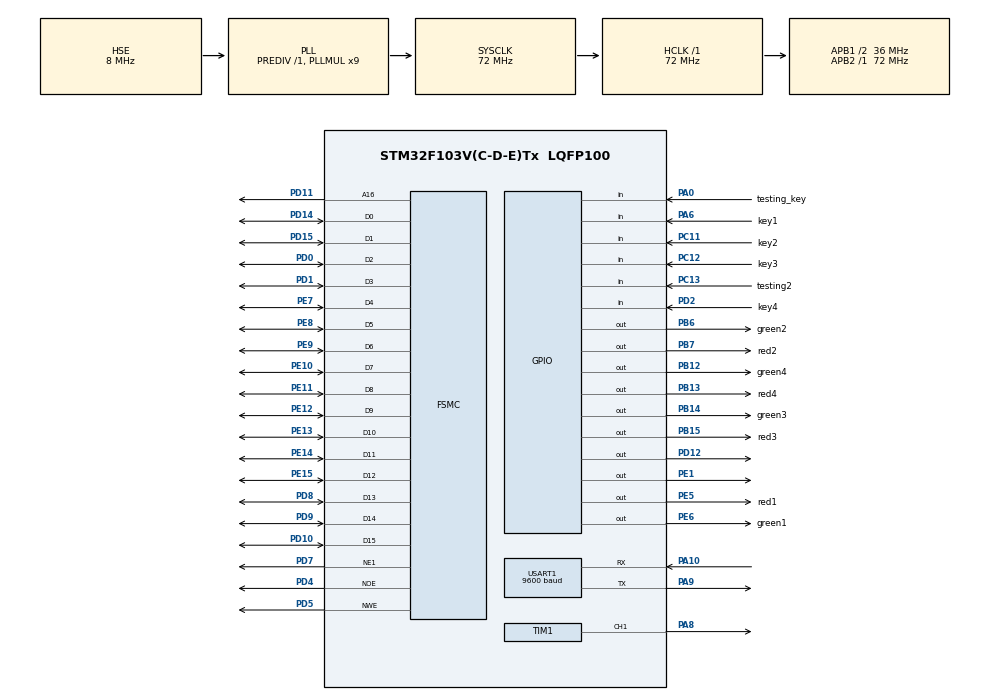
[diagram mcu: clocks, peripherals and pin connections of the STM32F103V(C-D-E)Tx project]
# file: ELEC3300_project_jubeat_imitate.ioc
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Mcu.Family=STM32F1
Mcu.Name=STM32F103V(C-D-E)Tx
Mcu.Package=LQFP100
Mcu.UserConstants=T1_CNT,9999;T1_PRE,7199;PWM_1,4999
NVIC.PriorityGroup=NVIC_PRIORITYGROUP_4
OSC_IN.Mode=HSE-External-Oscillator
OSC_IN.Signal=RCC_OSC_IN
OSC_OUT.Mode=HSE-External-Oscillator
OSC_OUT.Signal=RCC_OSC_OUT
PA0-WKUP.GPIO_Label=testing_key
PA0-WKUP.GPIO_PuPd=GPIO_PULLUP
PA0-WKUP.Signal=GPIO_Input
PA10.Mode=Asynchronous
PA10.Signal=USART1_RX
PA13.Mode=Serial_Wire
PA13.Signal=SYS_JTMS-SWDIO
PA14.Mode=Serial_Wire
PA14.Signal=SYS_JTCK-SWCLK
PA6.GPIO_Label=key1
PA6.GPIO_PuPd=GPIO_PULLUP
PA6.Signal=GPIO_Input
PA8.Signal=S_TIM1_CH1
PA9.Mode=Asynchronous
PA9.Signal=USART1_TX
PB12.GPIO_Label=green4
PB12.GPIO_Speed=GPIO_SPEED_FREQ_HIGH
PB12.PinState=GPIO_PIN_SET
PB12.Signal=GPIO_Output
PB13.GPIO_Label=red4
PB13.GPIO_Speed=GPIO_SPEED_FREQ_HIGH
PB13.PinState=GPIO_PIN_SET
PB13.Signal=GPIO_Output
PB14.GPIO_Label=green3
PB14.GPIO_Speed=GPIO_SPEED_FREQ_HIGH
PB14.PinState=GPIO_PIN_SET
PB14.Signal=GPIO_Output
PB15.GPIO_Label=red3
PB15.GPIO_Speed=GPIO_SPEED_FREQ_HIGH
PB15.PinState=GPIO_PIN_SET
PB15.Signal=GPIO_Output
PB6.GPIO_Label=green2
PB6.GPIO_PuPd=GPIO_NOPULL
PB6.GPIO_Speed=GPIO_SPEED_FREQ_HIGH
PB6.PinState=GPIO_PIN_SET
PB6.Signal=GPIO_Output
PB7.GPIO_Label=red2
PB7.GPIO_PuPd=GPIO_NOPULL
PB7.GPIO_Speed=GPIO_SPEED_FREQ_HIGH
PB7.PinState=GPIO_PIN_SET
PB7.Signal=GPIO_Output
PC11.GPIO_Label=key2
PC11.GPIO_PuPd=GPIO_PULLUP
PC11.Signal=GPIO_Input
PC12.GPIO_Label=key3
PC12.GPIO_PuPd=GPIO_PULLUP
PC12.Signal=GPIO_Input
PC13-TAMPER-RTC.GPIO_Label=testing2
PC13-TAMPER-RTC.GPIO_PuPd=GPIO_PULLUP
PC13-TAMPER-RTC.Signal=GPIO_Input
PC14-OSC32_IN.Mode=LSE-External-Oscillator
PC14-OSC32_IN.Signal=RCC_OSC32_IN
PC15-OSC32_OUT.Mode=LSE-External-Oscillator
PC15-OSC32_OUT.Signal=RCC_OSC32_OUT
PD0.Mode=16b-d1
PD0.Signal=FSMC_D2
PD1.Mode=16b-d1
PD1.Signal=FSMC_D3
PD10.Mode=16b-d1
PD10.Signal=FSMC_D15
PD11.Mode=A16_1
PD11.Signal=FSMC_A16
PD12.GPIO_Speed=GPIO_SPEED_FREQ_HIGH
PD12.PinState=GPIO_PIN_RESET
PD12.Signal=GPIO_Output
PD14.Mode=16b-d1
PD14.Signal=FSMC_D0
PD15.Mode=16b-d1
PD15.Signal=FSMC_D1
PD2.GPIO_Label=key4
PD2.GPIO_PuPd=GPIO_PULLUP
PD2.Signal=GPIO_Input
PD4.Mode=Lcd1
PD4.Signal=FSMC_NOE
PD5.Mode=Lcd1
PD5.Signal=FSMC_NWE
PD7.Mode=NorPsramChipSelect1_1
PD7.Signal=FSMC_NE1
PD8.Mode=16b-d1
PD8.Signal=FSMC_D13
PD9.Mode=16b-d1
PD9.Signal=FSMC_D14
PE1.GPIO_Speed=GPIO_SPEED_FREQ_HIGH
PE1.Signal=GPIO_Output
PE10.Mode=16b-d1
PE10.Signal=FSMC_D7
PE11.Mode=16b-d1
PE11.Signal=FSMC_D8
PE12.Mode=16b-d1
PE12.Signal=FSMC_D9
PE13.Mode=16b-d1
PE13.Signal=FSMC_D10
PE14.Mode=16b-d1
PE14.Signal=FSMC_D11
PE15.Mode=16b-d1
PE15.Signal=FSMC_D12
PE5.GPIO_Label=red1
PE5.GPIO_Speed=GPIO_SPEED_FREQ_HIGH
PE5.PinState=GPIO_PIN_SET
PE5.Signal=GPIO_Output
PE6.GPIO_Label=green1
PE6.GPIO_Speed=GPIO_SPEED_FREQ_HIGH
PE6.PinState=GPIO_PIN_SET
PE6.Signal=GPIO_Output
PE7.Mode=16b-d1
PE7.Signal=FSMC_D4
PE8.Mode=16b-d1
PE8.Signal=FSMC_D5
PE9.Mode=16b-d1
PE9.Signal=FSMC_D6
ProjectManager.HeapSize=0x200
ProjectManager.StackSize=0x400
ProjectManager.TargetToolchain=STM32CubeIDE
RCC.AHBFreq_Value=72000000
RCC.APB1CLKDivider=RCC_HCLK_DIV2
RCC.APB1Freq_Value=36000000
RCC.APB1TimFreq_Value=72000000
RCC.APB2Freq_Value=72000000
RCC.APB2TimFreq_Value=72000000
RCC.HCLKFreq_Value=72000000
RCC.PLLMUL=RCC_PLL_MUL9
RCC.PLLSourceVirtual=RCC_PLLSOURCE_HSE
RCC.SYSCLKFreq_VALUE=72000000
RCC.SYSCLKSource=RCC_SYSCLKSOURCE_PLLCLK
RCC.USBFreq_Value=72000000
SH.S_TIM1_CH1.0=TIM1_CH1,PWM Generation1 CH1
TIM1.Channel-PWM\ Generation1\ CH1=TIM_CHANNEL_1
TIM1.Period=T1_CNT
TIM1.Prescaler=T1_PRE
TIM1.Pulse-PWM\ Generation1\ CH1=PWM_1
USART1.BaudRate=9600
USART1.VirtualMode=VM_ASYNC
board=custom

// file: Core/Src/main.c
/* USER CODE BEGIN Header */
/**
  ******************************************************************************
  * @file           : main.c
  * @brief          : Main program body
  ******************************************************************************
  * @attention
  *
  * Copyright (c) 2024 STMicroelectronics.
  * All rights reserved.
  *
  * This software is licensed under terms that can be found in the LICENSE file
  * in the root directory of this software component.
  * If no LICENSE file comes with this software, it is provided AS-IS.
  *
  ******************************************************************************
  */
/* USER CODE END Header */
#include "main.h"

/* USER CODE BEGIN Includes */
#include "lcd.h"
#include "dy_sv17f.h"
#include "led_blink.h"

#include "menu.h"
#include "blank_space.h"
#include "an_apple.h"
/* USER CODE END Includes */

/* USER CODE BEGIN PD */
//#define T1_PRE 7199
//#define T1_CNT 9999
//#define PWM_1 4999
/* USER CODE END PD */

 TIM_HandleTypeDef htim1;

UART_HandleTypeDef huart1;

SRAM_HandleTypeDef hsram1;

void SystemClock_Config(void);
static void MX_GPIO_Init(void);
static void MX_FSMC_Init(void);
static void MX_USART1_UART_Init(void);
static void MX_TIM1_Init(void);

int main(void)
{

  /* MCU Configuration--------------------------------------------------------*/

  /* Reset of all peripherals, Initializes the Flash interface and the Systick. */
  HAL_Init();

  /* Configure the system clock */
  SystemClock_Config();

  /* Initialize all configured peripherals */
  MX_GPIO_Init();
  MX_FSMC_Init();
  MX_USART1_UART_Init();
  MX_TIM1_Init();
  /* USER CODE BEGIN 2 */
  LCD_INIT();
  HAL_UART_Init(&huart1);
  DY_Init(&huart1);
//  HAL_TIM_PWM_Start(&htim1, TIM_CHANNEL_1);
  int page = 0;
  int menuTrue = 1;
  /* USER CODE END 2 */

  /* Infinite loop */
  while (1)
  {

    /* USER CODE BEGIN 3 */

	  // initialize to the menu
	  if (menuTrue == 1) {
		  printMenu(page);
		  HAL_GPIO_WritePin(GPIOE, GPIO_PIN_5, GPIO_PIN_RESET);
		  HAL_GPIO_WritePin(GPIOB, GPIO_PIN_6, GPIO_PIN_RESET);
		  HAL_GPIO_WritePin(GPIOB, GPIO_PIN_7, GPIO_PIN_RESET);
		  HAL_GPIO_WritePin(GPIOB, GPIO_PIN_14, GPIO_PIN_RESET);
		  //menuLED();
	  }

	  // changing to another page by KE2
	  if(HAL_GPIO_ReadPin(GPIOC, GPIO_PIN_11) == GPIO_PIN_SET) {
		  HAL_Delay(200);
		  page += 1; // select another songs
		  if( page > 3) {
			  page = page % 4;
			  page = (page == 0) ? 1 : page;
		  }
		  // in this case assume 2 songs first
		  // default page = 0 menu, or if A0 is pressed , go to blank space
		  // page = 1 blank space
		  // page = 2 an apple
		  // page = 3 badroom star
	  }
	  //change to last page by key1
	  if(HAL_GPIO_ReadPin(GPIOC, GPIO_PIN_10) != GPIO_PIN_SET) {
	  		  HAL_Delay(200);
	  		  page -= 1; // select another songs
	  		  if( page <= 0) {
	  			  page = 3;
	  		  }
	  }

	  // select the song by KEY1 in STM32
	  if(HAL_GPIO_ReadPin(GPIOA, GPIO_PIN_0) == GPIO_PIN_SET) {
		  menuTrue = 0;
		  uint8_t cmdPlay1[] = {0xAA, 0x08, 0x0B, 0x02, 0x2F, 0x30, 0x30, 0x30, 0x30, 0x31, 0x2A, 0x4D, 0x50, 0x33, 0xD9};
		  uint8_t cmdPlay2[] = {0xAA, 0x08, 0x0B, 0x02, 0x2F, 0x30, 0x30, 0x30, 0x30, 0x32, 0x2A, 0x4D, 0x50, 0x33, 0xDA};
		  uint8_t cmdPlay3[] = {0xAA, 0x08, 0x0B, 0x02, 0x2F, 0x30, 0x30, 0x30, 0x30, 0x33, 0x2A, 0x4D, 0x50, 0x33, 0xDB};

		  HAL_Delay(50);
		  switch (page) {
		  	  case (0) :
		  	  	  	blank_space_LCD();
		  	  	  	HAL_Delay(500);
		  	  	  	HAL_UART_Transmit(&huart1, cmdPlay1, sizeof(cmdPlay1), 1000);
		  		    blank_space_musicMap();
		  	  	  	break;
		  	  case (1) :
		  	  	  	blank_space_LCD();
		  	  	  	HAL_Delay(500);
		  	  	  	HAL_UART_Transmit(&huart1, cmdPlay1, sizeof(cmdPlay1), 1000);
		  		    blank_space_musicMap();
		  	  	  	break;
		  	  case (2) :
					an_apple_LCD();
		  	  	  	HAL_Delay(500);
		  	  	  	HAL_UART_Transmit(&huart1, cmdPlay2, sizeof(cmdPlay2), 1000);
		  	  	  	an_apple_musicMap();
		  	  	  	break;
		  	  case (3) :
		  			// haven't write music map
		  	  	  	HAL_Delay(500);
		  	  	  	HAL_UART_Transmit(&huart1, cmdPlay2, sizeof(cmdPlay3), 1000);
		  	  	  	break;

		  }
	  }

	  if(HAL_GPIO_ReadPin(GPIOD, GPIO_PIN_2) != GPIO_PIN_SET) {
		  //Blink_LED4(0);
	  }

  }

  /* USER CODE END 3 */
}

void SystemClock_Config(void)
{
  RCC_OscInitTypeDef RCC_OscInitStruct = {0};
  RCC_ClkInitTypeDef RCC_ClkInitStruct = {0};

  /** Initializes the RCC Oscillators according to the specified parameters
  * in the RCC_OscInitTypeDef structure.
  */
  RCC_OscInitStruct.OscillatorType = RCC_OSCILLATORTYPE_HSE;
  RCC_OscInitStruct.HSEState = RCC_HSE_ON;
  RCC_OscInitStruct.HSEPredivValue = RCC_HSE_PREDIV_DIV1;
  RCC_OscInitStruct.HSIState = RCC_HSI_ON;
  RCC_OscInitStruct.PLL.PLLState = RCC_PLL_ON;
  RCC_OscInitStruct.PLL.PLLSource = RCC_PLLSOURCE_HSE;
  RCC_OscInitStruct.PLL.PLLMUL = RCC_PLL_MUL9;
  if (HAL_RCC_OscConfig(&RCC_OscInitStruct) != HAL_OK)
  {
    Error_Handler();
  }

  /** Initializes the CPU, AHB and APB buses clocks
  */
  RCC_ClkInitStruct.ClockType = RCC_CLOCKTYPE_HCLK|RCC_CLOCKTYPE_SYSCLK
                              |RCC_CLOCKTYPE_PCLK1|RCC_CLOCKTYPE_PCLK2;
  RCC_ClkInitStruct.SYSCLKSource = RCC_SYSCLKSOURCE_PLLCLK;
  RCC_ClkInitStruct.AHBCLKDivider = RCC_SYSCLK_DIV1;
  RCC_ClkInitStruct.APB1CLKDivider = RCC_HCLK_DIV2;
  RCC_ClkInitStruct.APB2CLKDivider = RCC_HCLK_DIV1;

  if (HAL_RCC_ClockConfig(&RCC_ClkInitStruct, FLASH_LATENCY_2) != HAL_OK)
  {
    Error_Handler();
  }
}

static void MX_TIM1_Init(void)
{

  TIM_MasterConfigTypeDef sMasterConfig = {0};
  TIM_OC_InitTypeDef sConfigOC = {0};
  TIM_BreakDeadTimeConfigTypeDef sBreakDeadTimeConfig = {0};

  htim1.Instance = TIM1;
  htim1.Init.Prescaler = T1_PRE;
  htim1.Init.CounterMode = TIM_COUNTERMODE_UP;
  htim1.Init.Period = T1_CNT;
  htim1.Init.ClockDivision = TIM_CLOCKDIVISION_DIV1;
  htim1.Init.RepetitionCounter = 0;
  htim1.Init.AutoReloadPreload = TIM_AUTORELOAD_PRELOAD_DISABLE;
  if (HAL_TIM_PWM_Init(&htim1) != HAL_OK)
  {
    Error_Handler();
  }
  sMasterConfig.MasterOutputTrigger = TIM_TRGO_RESET;
  sMasterConfig.MasterSlaveMode = TIM_MASTERSLAVEMODE_DISABLE;
  if (HAL_TIMEx_MasterConfigSynchronization(&htim1, &sMasterConfig) != HAL_OK)
  {
    Error_Handler();
  }
  sConfigOC.OCMode = TIM_OCMODE_PWM1;
  sConfigOC.Pulse = PWM_1;
  sConfigOC.OCPolarity = TIM_OCPOLARITY_HIGH;
  sConfigOC.OCNPolarity = TIM_OCNPOLARITY_HIGH;
  sConfigOC.OCFastMode = TIM_OCFAST_DISABLE;
  sConfigOC.OCIdleState = TIM_OCIDLESTATE_RESET;
  sConfigOC.OCNIdleState = TIM_OCNIDLESTATE_RESET;
  if (HAL_TIM_PWM_ConfigChannel(&htim1, &sConfigOC, TIM_CHANNEL_1) != HAL_OK)
  {
    Error_Handler();
  }
  sBreakDeadTimeConfig.OffStateRunMode = TIM_OSSR_DISABLE;
  sBreakDeadTimeConfig.OffStateIDLEMode = TIM_OSSI_DISABLE;
  sBreakDeadTimeConfig.LockLevel = TIM_LOCKLEVEL_OFF;
  sBreakDeadTimeConfig.DeadTime = 0;
  sBreakDeadTimeConfig.BreakState = TIM_BREAK_DISABLE;
  sBreakDeadTimeConfig.BreakPolarity = TIM_BREAKPOLARITY_HIGH;
  sBreakDeadTimeConfig.AutomaticOutput = TIM_AUTOMATICOUTPUT_DISABLE;
  if (HAL_TIMEx_ConfigBreakDeadTime(&htim1, &sBreakDeadTimeConfig) != HAL_OK)
  {
    Error_Handler();
  }
  HAL_TIM_MspPostInit(&htim1);

}

static void MX_USART1_UART_Init(void)
{

  huart1.Instance = USART1;
  huart1.Init.BaudRate = 9600;
  huart1.Init.WordLength = UART_WORDLENGTH_8B;
  huart1.Init.StopBits = UART_STOPBITS_1;
  huart1.Init.Parity = UART_PARITY_NONE;
  huart1.Init.Mode = UART_MODE_TX_RX;
  huart1.Init.HwFlowCtl = UART_HWCONTROL_NONE;
  huart1.Init.OverSampling = UART_OVERSAMPLING_16;
  if (HAL_UART_Init(&huart1) != HAL_OK)
  {
    Error_Handler();
  }

}

static void MX_GPIO_Init(void)
{
  GPIO_InitTypeDef GPIO_InitStruct = {0};

  /* GPIO Ports Clock Enable */
  __HAL_RCC_GPIOE_CLK_ENABLE();
  __HAL_RCC_GPIOC_CLK_ENABLE();
  __HAL_RCC_GPIOA_CLK_ENABLE();
  __HAL_RCC_GPIOB_CLK_ENABLE();
  __HAL_RCC_GPIOD_CLK_ENABLE();

  /*Configure GPIO pin Output Level */
  HAL_GPIO_WritePin(GPIOE, red1_Pin|green1_Pin, GPIO_PIN_SET);

  /*Configure GPIO pin Output Level */
  HAL_GPIO_WritePin(GPIOB, green4_Pin|red4_Pin|green3_Pin|red3_Pin
                          |green2_Pin|red2_Pin, GPIO_PIN_SET);

  /*Configure GPIO pin Output Level */
  HAL_GPIO_WritePin(GPIOD, GPIO_PIN_12, GPIO_PIN_RESET);

  /*Configure GPIO pin Output Level */
  HAL_GPIO_WritePin(GPIOE, GPIO_PIN_1, GPIO_PIN_RESET);

  /*Configure GPIO pins : red1_Pin green1_Pin PE1 */
  GPIO_InitStruct.Pin = red1_Pin|green1_Pin|GPIO_PIN_1;
  GPIO_InitStruct.Mode = GPIO_MODE_OUTPUT_PP;
  GPIO_InitStruct.Pull = GPIO_NOPULL;
  GPIO_InitStruct.Speed = GPIO_SPEED_FREQ_HIGH;
  HAL_GPIO_Init(GPIOE, &GPIO_InitStruct);

  /*Configure GPIO pins : testing2_Pin key2_Pin key3_Pin */
  GPIO_InitStruct.Pin = testing2_Pin|key2_Pin|key3_Pin;
  GPIO_InitStruct.Mode = GPIO_MODE_INPUT;
  GPIO_InitStruct.Pull = GPIO_PULLUP;
  HAL_GPIO_Init(GPIOC, &GPIO_InitStruct);

  /*Configure GPIO pins : testing_key_Pin key1_Pin */
  GPIO_InitStruct.Pin = testing_key_Pin|key1_Pin;
  GPIO_InitStruct.Mode = GPIO_MODE_INPUT;
  GPIO_InitStruct.Pull = GPIO_PULLUP;
  HAL_GPIO_Init(GPIOA, &GPIO_InitStruct);

  /*Configure GPIO pins : green4_Pin red4_Pin green3_Pin red3_Pin
                           green2_Pin red2_Pin */
  GPIO_InitStruct.Pin = green4_Pin|red4_Pin|green3_Pin|red3_Pin
                          |green2_Pin|red2_Pin;
  GPIO_InitStruct.Mode = GPIO_MODE_OUTPUT_PP;
  GPIO_InitStruct.Pull = GPIO_NOPULL;
  GPIO_InitStruct.Speed = GPIO_SPEED_FREQ_HIGH;
  HAL_GPIO_Init(GPIOB, &GPIO_InitStruct);

  /*Configure GPIO pin : PD12 */
  GPIO_InitStruct.Pin = GPIO_PIN_12;
  GPIO_InitStruct.Mode = GPIO_MODE_OUTPUT_PP;
  GPIO_InitStruct.Pull = GPIO_NOPULL;
  GPIO_InitStruct.Speed = GPIO_SPEED_FREQ_HIGH;
  HAL_GPIO_Init(GPIOD, &GPIO_InitStruct);

  /*Configure GPIO pin : key4_Pin */
  GPIO_InitStruct.Pin = key4_Pin;
  GPIO_InitStruct.Mode = GPIO_MODE_INPUT;
  GPIO_InitStruct.Pull = GPIO_PULLUP;
  HAL_GPIO_Init(key4_GPIO_Port, &GPIO_InitStruct);

}

/* FSMC initialization function */
static void MX_FSMC_Init(void)
{

  FSMC_NORSRAM_TimingTypeDef Timing = {0};

  /** Perform the SRAM1 memory initialization sequence
  */
  hsram1.Instance = FSMC_NORSRAM_DEVICE;
  hsram1.Extended = FSMC_NORSRAM_EXTENDED_DEVICE;
  /* hsram1.Init */
  hsram1.Init.NSBank = FSMC_NORSRAM_BANK1;
  hsram1.Init.DataAddressMux = FSMC_DATA_ADDRESS_MUX_DISABLE;
  hsram1.Init.MemoryType = FSMC_MEMORY_TYPE_SRAM;
  hsram1.Init.MemoryDataWidth = FSMC_NORSRAM_MEM_BUS_WIDTH_16;
  hsram1.Init.BurstAccessMode = FSMC_BURST_ACCESS_MODE_DISABLE;
  hsram1.Init.WaitSignalPolarity = FSMC_WAIT_SIGNAL_POLARITY_LOW;
  hsram1.Init.WrapMode = FSMC_WRAP_MODE_DISABLE;
  hsram1.Init.WaitSignalActive = FSMC_WAIT_TIMING_BEFORE_WS;
  hsram1.Init.WriteOperation = FSMC_WRITE_OPERATION_ENABLE;
  hsram1.Init.WaitSignal = FSMC_WAIT_SIGNAL_DISABLE;
  hsram1.Init.ExtendedMode = FSMC_EXTENDED_MODE_DISABLE;
  hsram1.Init.AsynchronousWait = FSMC_ASYNCHRONOUS_WAIT_DISABLE;
  hsram1.Init.WriteBurst = FSMC_WRITE_BURST_DISABLE;
  /* Timing */
  Timing.AddressSetupTime = 15;
  Timing.AddressHoldTime = 15;
  Timing.DataSetupTime = 255;
  Timing.BusTurnAroundDuration = 15;
  Timing.CLKDivision = 16;
  Timing.DataLatency = 17;
  Timing.AccessMode = FSMC_ACCESS_MODE_A;
  /* ExtTiming */

  if (HAL_SRAM_Init(&hsram1, &Timing, NULL) != HAL_OK)
  {
    Error_Handler( );
  }

  /** Disconnect NADV
  */

  __HAL_AFIO_FSMCNADV_DISCONNECTED();

}

void Error_Handler(void)
{
  __disable_irq();
  while (1)
  {
  }
}
